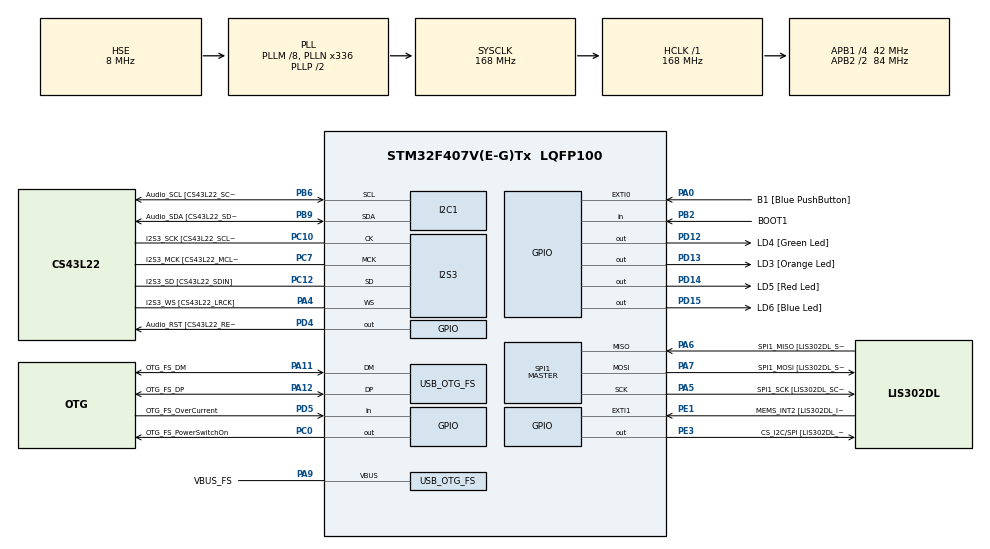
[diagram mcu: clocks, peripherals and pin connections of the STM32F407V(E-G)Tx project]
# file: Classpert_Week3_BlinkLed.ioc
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I2S3.AudioFreq-Half_Duplex_Master=I2S_AUDIOFREQ_96K
I2S3.ErrorAudioFreq=-2.34 %
I2S3.ErrorAudioFreq-Half_Duplex_Master=0.8 %
I2S3.FullDuplexMode=I2S_FULLDUPLEXMODE_DISABLE
I2S3.Instance=SPI$Index
I2S3.RealAudioFreq=93.75 KHz
I2S3.RealAudioFreq-Half_Duplex_Master=96.774 KHz
I2S3.VirtualMode=I2S_MODE_MASTER
Mcu.Family=STM32F4
Mcu.Name=STM32F407V(E-G)Tx
Mcu.Package=LQFP100
NVIC.EXTI0_IRQn=true\:0\:0\:false\:false\:true\:true\:true\:true
NVIC.OTG_FS_IRQn=true\:0\:0\:false\:false\:true\:true\:true\:true
NVIC.PriorityGroup=NVIC_PRIORITYGROUP_0
NVIC.TIM2_IRQn=true\:0\:0\:false\:false\:true\:true\:true\:true
PA0-WKUP.GPIO_Label=B1 [Blue PushButton]
PA0-WKUP.GPIO_ModeDefaultEXTI=GPIO_MODE_IT_RISING
PA0-WKUP.GPIO_PuPd=GPIO_NOPULL
PA0-WKUP.Signal=GPXTI0
PA10.GPIO_Label=OTG_FS_ID
PA10.GPIO_Mode=GPIO_MODE_AF_PP
PA10.GPIO_PuPd=GPIO_NOPULL
PA10.GPIO_Speed=GPIO_SPEED_FREQ_LOW
PA10.Signal=USB_OTG_FS_ID
PA11.GPIO_Label=OTG_FS_DM
PA11.GPIO_Mode=GPIO_MODE_AF_PP
PA11.GPIO_PuPd=GPIO_NOPULL
PA11.GPIO_Speed=GPIO_SPEED_FREQ_LOW
PA11.Mode=Host_Only
PA11.Signal=USB_OTG_FS_DM
PA12.GPIO_Label=OTG_FS_DP
PA12.GPIO_Mode=GPIO_MODE_AF_PP
PA12.GPIO_PuPd=GPIO_NOPULL
PA12.GPIO_Speed=GPIO_SPEED_FREQ_LOW
PA12.Mode=Host_Only
PA12.Signal=USB_OTG_FS_DP
PA13.GPIO_Label=SWDIO
PA13.Mode=Serial_Wire
PA13.Signal=SYS_JTMS-SWDIO
PA14.GPIO_Label=SWCLK
PA14.Mode=Serial_Wire
PA14.Signal=SYS_JTCK-SWCLK
PA4.GPIO_Label=I2S3_WS [CS43L22_LRCK]
PA4.GPIO_Mode=GPIO_MODE_AF_PP
PA4.GPIO_PuPd=GPIO_NOPULL
PA4.GPIO_Speed=GPIO_SPEED_FREQ_LOW
PA4.Mode=Half_Duplex_Master
PA4.Signal=I2S3_WS
PA5.GPIO_Label=SPI1_SCK [LIS302DL_SCL/SPC]
PA5.GPIO_Mode=GPIO_MODE_AF_PP
PA5.GPIO_PuPd=GPIO_NOPULL
PA5.GPIO_Speed=GPIO_SPEED_FREQ_LOW
PA5.Mode=Full_Duplex_Master
PA5.Signal=SPI1_SCK
PA6.GPIO_Label=SPI1_MISO [LIS302DL_SDO]
PA6.GPIO_Mode=GPIO_MODE_AF_PP
PA6.GPIO_PuPd=GPIO_NOPULL
PA6.GPIO_Speed=GPIO_SPEED_FREQ_LOW
PA6.Mode=Full_Duplex_Master
PA6.Signal=SPI1_MISO
PA7.GPIO_Label=SPI1_MOSI [LIS302DL_SDA/SDI/SDO]
PA7.GPIO_Mode=GPIO_MODE_AF_PP
PA7.GPIO_PuPd=GPIO_NOPULL
PA7.GPIO_Speed=GPIO_SPEED_FREQ_LOW
PA7.Mode=Full_Duplex_Master
PA7.Signal=SPI1_MOSI
PA9.GPIO_Label=VBUS_FS
PA9.GPIO_Mode=GPIO_MODE_INPUT
PA9.GPIO_PuPd=GPIO_NOPULL
PA9.Mode=Activate_VBUS
PA9.Signal=USB_OTG_FS_VBUS
PB10.GPIO_Label=CLK_IN [MP45DT02_CLK]
PB10.GPIO_Mode=GPIO_MODE_AF_PP
PB10.GPIO_PuPd=GPIO_NOPULL
PB10.GPIO_Speed=GPIO_SPEED_FREQ_LOW
PB10.Signal=I2S2_CK
PB2.GPIO_Label=BOOT1
PB2.GPIO_Mode=GPIO_MODE_INPUT
PB2.GPIO_PuPd=GPIO_NOPULL
PB2.Signal=GPIO_Input
PB3.GPIO_Label=SWO
PB3.Signal=SYS_JTDO-SWO
PB6.GPIO_Label=Audio_SCL [CS43L22_SCL]
PB6.GPIO_Mode=GPIO_MODE_AF_OD
PB6.GPIO_Pu=GPIO_PULLUP
PB6.GPIO_PuPd=GPIO_NOPULL
PB6.GPIO_Speed=GPIO_SPEED_FREQ_LOW
PB6.Mode=I2C
PB6.Signal=I2C1_SCL
PB9.GPIO_Label=Audio_SDA [CS43L22_SDA]
PB9.GPIO_Mode=GPIO_MODE_AF_OD
PB9.GPIO_Pu=GPIO_PULLUP
PB9.GPIO_PuPd=GPIO_NOPULL
PB9.GPIO_Speed=GPIO_SPEED_FREQ_LOW
PB9.Mode=I2C
PB9.Signal=I2C1_SDA
PC0.GPIO_Label=OTG_FS_PowerSwitchOn
PC0.GPIO_PuPd=GPIO_NOPULL
PC0.GPIO_Speed=GPIO_SPEED_FREQ_LOW
PC0.PinState=GPIO_PIN_SET
PC0.Signal=GPIO_Output
PC10.GPIO_Label=I2S3_SCK [CS43L22_SCLK]
PC10.GPIO_Mode=GPIO_MODE_AF_PP
PC10.GPIO_PuPd=GPIO_NOPULL
PC10.GPIO_Speed=GPIO_SPEED_FREQ_LOW
PC10.Mode=Half_Duplex_Master
PC10.Signal=I2S3_CK
PC12.GPIO_Label=I2S3_SD [CS43L22_SDIN]
PC12.GPIO_Mode=GPIO_MODE_AF_PP
PC12.GPIO_PuPd=GPIO_NOPULL
PC12.GPIO_Speed=GPIO_SPEED_FREQ_LOW
PC12.Mode=Half_Duplex_Master
PC12.Signal=I2S3_SD
PC14-OSC32_IN.GPIO_Label=PC14-OSC32_IN
PC14-OSC32_IN.Mode=LSE-External-Oscillator
PC14-OSC32_IN.Signal=RCC_OSC32_IN
PC15-OSC32_OUT.GPIO_Label=PC15-OSC32_OUT
PC15-OSC32_OUT.Mode=LSE-External-Oscillator
PC15-OSC32_OUT.Signal=RCC_OSC32_OUT
PC3.GPIO_Label=PDM_OUT [MP45DT02_DOUT]
PC3.GPIO_Mode=GPIO_MODE_AF_PP
PC3.GPIO_PuPd=GPIO_NOPULL
PC3.GPIO_Speed=GPIO_SPEED_FREQ_LOW
PC3.Signal=I2S2_SD
PC7.GPIO_Label=I2S3_MCK [CS43L22_MCLK]
PC7.GPIO_Mode=GPIO_MODE_AF_PP
PC7.GPIO_PuPd=GPIO_NOPULL
PC7.GPIO_Speed=GPIO_SPEED_FREQ_LOW
PC7.Mode=Master_Clock_Activated
PC7.Signal=I2S3_MCK
PD12.GPIO_Label=LD4 [Green Led]
PD12.GPIO_PuPd=GPIO_NOPULL
PD12.GPIO_Speed=GPIO_SPEED_FREQ_LOW
PD12.Signal=GPIO_Output
PD13.GPIO_Label=LD3 [Orange Led]
PD13.GPIO_PuPd=GPIO_NOPULL
PD13.GPIO_Speed=GPIO_SPEED_FREQ_LOW
PD13.Signal=GPIO_Output
PD14.GPIO_Label=LD5 [Red Led]
PD14.GPIO_PuPd=GPIO_NOPULL
PD14.GPIO_Speed=GPIO_SPEED_FREQ_LOW
PD14.Signal=GPIO_Output
PD15.GPIO_Label=LD6 [Blue Led]
PD15.GPIO_PuPd=GPIO_NOPULL
PD15.GPIO_Speed=GPIO_SPEED_FREQ_LOW
PD15.Signal=GPIO_Output
PD4.GPIO_Label=Audio_RST [CS43L22_RESET]
PD4.GPIO_PuPd=GPIO_NOPULL
PD4.GPIO_Speed=GPIO_SPEED_FREQ_LOW
PD4.Signal=GPIO_Output
PD5.GPIO_Label=OTG_FS_OverCurrent
PD5.GPIO_Mode=GPIO_MODE_INPUT
PD5.GPIO_PuPd=GPIO_NOPULL
PD5.Signal=GPIO_Input
PE1.GPIO_Label=MEMS_INT2 [LIS302DL_INT2]
PE1.GPIO_ModeDefaultEXTI=GPIO_MODE_EVT_RISING
PE1.GPIO_PuPd=GPIO_NOPULL
PE1.Signal=GPXTI1
PE3.GPIO_Label=CS_I2C/SPI [LIS302DL_CS_I2C/SPI]
PE3.GPIO_PuPd=GPIO_NOPULL
PE3.GPIO_Speed=GPIO_SPEED_FREQ_LOW
PE3.Signal=GPIO_Output
PH0-OSC_IN.GPIO_Label=PH0-OSC_IN
PH0-OSC_IN.Mode=HSE-External-Oscillator
PH0-OSC_IN.Signal=RCC_OSC_IN
PH1-OSC_OUT.GPIO_Label=PH1-OSC_OUT
PH1-OSC_OUT.Mode=HSE-External-Oscillator
PH1-OSC_OUT.Signal=RCC_OSC_OUT
ProjectManager.HeapSize=0x200
ProjectManager.StackSize=0x400
ProjectManager.TargetToolchain=STM32CubeIDE
RCC.48MHZClocksFreq_Value=48000000
RCC.AHBFreq_Value=168000000
RCC.APB1CLKDivider=RCC_HCLK_DIV4
RCC.APB1Freq_Value=42000000
RCC.APB1TimFreq_Value=84000000
RCC.APB2CLKDivider=RCC_HCLK_DIV2
RCC.APB2Freq_Value=84000000
RCC.APB2TimFreq_Value=168000000
RCC.CortexFreq_Value=168000000
RCC.HCLKFreq_Value=168000000
RCC.HSE_VALUE=8000000
RCC.HSI_VALUE=16000000
RCC.PLLM=8
RCC.PLLN=336
RCC.PLLQ=7
RCC.SYSCLKFreq_VALUE=168000000
RCC.SYSCLKSource=RCC_SYSCLKSOURCE_PLLCLK
RCC.VCOOutputFreq_Value=336000000
SPI1.BaudRatePrescaler-Full_Duplex_Master=SPI_BAUDRATEPRESCALER_2
SPI1.CalculateBaudRate-Full_Duplex_Master=42.0 MBits/s
SPI1.Direction=SPI_DIRECTION_2LINES
SPI1.Mode=SPI_MODE_MASTER
SPI1.Mode-Full_Duplex_Master=SPI_MODE_MASTER
SPI1.VirtualType=VM_MASTER
TIM2.Channel-Output\ Compare1\ No\ Output=TIM_CHANNEL_1
TIM2.Period=0
TIM2.Prescaler=84
TIM2.Pulse-Output\ Compare1\ No\ Output=20000
USB_HOST.BSP.number=1
USB_HOST.USBH_HandleTypeDef-CDC_FS=hUsbHostFS
USB_HOST.VirtualModeFS=Cdc
USB_HOST0.BSP.STBoard=false
USB_HOST0.BSP.api=Unknown
USB_HOST0.BSP.instance=PC0
USB_HOST0.BSP.ip=GPIO
USB_HOST0.BSP.mode=Output
USB_HOST0.BSP.name=Drive_VBUS_FS
USB_HOST0.BSP.solution=PC0
USB_OTG_FS.VirtualMode=Host_Only
USB_OTG_FS.phy_itface=HCD_PHY_EMBEDDED
VP_TIM2_VS_ClockSourceINT.Mode=Internal
VP_TIM2_VS_no_output1.Mode=Output Compare1 No Output
VP_USB_HOST_VS_USB_HOST_CDC_FS.Mode=CDC_FS
board=STM32F407G-DISC1

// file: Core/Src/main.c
/* USER CODE BEGIN Header */
/**
  ******************************************************************************
  * @file           : main.c
  * @brief          : Main program body
  ******************************************************************************
  * @attention
  *
  * Copyright (c) 2023 STMicroelectronics.
  * All rights reserved.
  *
  * This software is licensed under terms that can be found in the LICENSE file
  * in the root directory of this software component.
  * If no LICENSE file comes with this software, it is provided AS-IS.
  *
  ******************************************************************************
  */
/* USER CODE END Header */
#include "main.h"
#include "usb_host.h"

/* USER CODE BEGIN Includes */
#include "custom_pindefines.h"
#include "state_defines.h"

/* USER CODE END Includes */

I2C_HandleTypeDef hi2c1;

I2S_HandleTypeDef hi2s3;

SPI_HandleTypeDef hspi1;

TIM_HandleTypeDef htim2;

void SystemClock_Config(void);
static void MX_GPIO_Init(void);
static void MX_I2C1_Init(void);
static void MX_I2S3_Init(void);
static void MX_SPI1_Init(void);
static void MX_TIM2_Init(void);
void MX_USB_HOST_Process(void);

/* USER CODE BEGIN 0 */
ledState LedState = ROTATE;	//Set the default

/* USER CODE END 0 */

int main(void)
{
  /* USER CODE BEGIN 1 */
	unsigned char previousLedState = ROTATE;
	unsigned char i;
	//ledState LedState = ROTATE;	//Set the default

  /* USER CODE END 1 */

  /* MCU Configuration--------------------------------------------------------*/

  /* Reset of all peripherals, Initializes the Flash interface and the Systick. */
  HAL_Init();

  /* Configure the system clock */
  SystemClock_Config();

  /* Initialize all configured peripherals */
  MX_GPIO_Init();
  MX_I2C1_Init();
  MX_I2S3_Init();
  MX_SPI1_Init();
  MX_USB_HOST_Init();
  MX_TIM2_Init();

  /* Infinite loop */
  /* USER CODE BEGIN WHILE */
  while (1)
  {
	  if( LedState != previousLedState)
	  {
		  //Turn all LEDS off before beginning a new pattern
		  HAL_GPIO_WritePin(GPIOD, LED_ORANGE, GPIO_PIN_RESET);
		  HAL_GPIO_WritePin(GPIOD, LED_RED, GPIO_PIN_RESET);
		  HAL_GPIO_WritePin(GPIOD, LED_BLUE, GPIO_PIN_RESET);
		  HAL_GPIO_WritePin(GPIOD, LED_GREEN, GPIO_PIN_RESET);

		  previousLedState = LedState;
	  }

	  switch (LedState)
	  {
	  case ROTATE:
		  /*Rotate LEDs with 100ms time between*/
		  HAL_GPIO_TogglePin(GPIOD, LED_ORANGE);
		  HAL_Delay(100);
		  HAL_GPIO_TogglePin(GPIOD, LED_RED);
		  HAL_Delay(100);
		  HAL_GPIO_TogglePin(GPIOD, LED_BLUE);
		  HAL_Delay(100);
		  HAL_GPIO_TogglePin(GPIOD, LED_GREEN);
		  HAL_Delay(100);
		  break;
	  case POLICE:
		  for (i = 0; i<4; i++)
		  {
			  HAL_GPIO_TogglePin(GPIOD, LED_BLUE);
			  HAL_Delay(100);
		  }
		  for (i = 0; i<4; i++)
		  {
			  HAL_GPIO_TogglePin(GPIOD, LED_RED);
			  HAL_Delay(100);
		  }
		  break;
	  case STROBE:
		  HAL_GPIO_TogglePin(GPIOD, LED_ORANGE);
		  HAL_GPIO_TogglePin(GPIOD, LED_RED);
		  HAL_GPIO_TogglePin(GPIOD, LED_BLUE);
		  HAL_GPIO_TogglePin(GPIOD, LED_GREEN);
		  HAL_Delay(50);
		  break;
	  case MAXFUNCTIONS:
		  LedState = ROTATE;
		  break;
	  }

	  //Read button state

    /* USER CODE END WHILE */
    MX_USB_HOST_Process();

  }
}

void SystemClock_Config(void)
{
  RCC_OscInitTypeDef RCC_OscInitStruct = {0};
  RCC_ClkInitTypeDef RCC_ClkInitStruct = {0};

  /** Configure the main internal regulator output voltage
  */
  __HAL_RCC_PWR_CLK_ENABLE();
  __HAL_PWR_VOLTAGESCALING_CONFIG(PWR_REGULATOR_VOLTAGE_SCALE1);

  /** Initializes the RCC Oscillators according to the specified parameters
  * in the RCC_OscInitTypeDef structure.
  */
  RCC_OscInitStruct.OscillatorType = RCC_OSCILLATORTYPE_HSE;
  RCC_OscInitStruct.HSEState = RCC_HSE_ON;
  RCC_OscInitStruct.PLL.PLLState = RCC_PLL_ON;
  RCC_OscInitStruct.PLL.PLLSource = RCC_PLLSOURCE_HSE;
  RCC_OscInitStruct.PLL.PLLM = 8;
  RCC_OscInitStruct.PLL.PLLN = 336;
  RCC_OscInitStruct.PLL.PLLP = RCC_PLLP_DIV2;
  RCC_OscInitStruct.PLL.PLLQ = 7;
  if (HAL_RCC_OscConfig(&RCC_OscInitStruct) != HAL_OK)
  {
    Error_Handler();
  }

  /** Initializes the CPU, AHB and APB buses clocks
  */
  RCC_ClkInitStruct.ClockType = RCC_CLOCKTYPE_HCLK|RCC_CLOCKTYPE_SYSCLK
                              |RCC_CLOCKTYPE_PCLK1|RCC_CLOCKTYPE_PCLK2;
  RCC_ClkInitStruct.SYSCLKSource = RCC_SYSCLKSOURCE_PLLCLK;
  RCC_ClkInitStruct.AHBCLKDivider = RCC_SYSCLK_DIV1;
  RCC_ClkInitStruct.APB1CLKDivider = RCC_HCLK_DIV4;
  RCC_ClkInitStruct.APB2CLKDivider = RCC_HCLK_DIV2;

  if (HAL_RCC_ClockConfig(&RCC_ClkInitStruct, FLASH_LATENCY_5) != HAL_OK)
  {
    Error_Handler();
  }
}

static void MX_I2C1_Init(void)
{

  hi2c1.Instance = I2C1;
  hi2c1.Init.ClockSpeed = 100000;
  hi2c1.Init.DutyCycle = I2C_DUTYCYCLE_2;
  hi2c1.Init.OwnAddress1 = 0;
  hi2c1.Init.AddressingMode = I2C_ADDRESSINGMODE_7BIT;
  hi2c1.Init.DualAddressMode = I2C_DUALADDRESS_DISABLE;
  hi2c1.Init.OwnAddress2 = 0;
  hi2c1.Init.GeneralCallMode = I2C_GENERALCALL_DISABLE;
  hi2c1.Init.NoStretchMode = I2C_NOSTRETCH_DISABLE;
  if (HAL_I2C_Init(&hi2c1) != HAL_OK)
  {
    Error_Handler();
  }

}

static void MX_I2S3_Init(void)
{

  hi2s3.Instance = SPI3;
  hi2s3.Init.Mode = I2S_MODE_MASTER_TX;
  hi2s3.Init.Standard = I2S_STANDARD_PHILIPS;
  hi2s3.Init.DataFormat = I2S_DATAFORMAT_16B;
  hi2s3.Init.MCLKOutput = I2S_MCLKOUTPUT_ENABLE;
  hi2s3.Init.AudioFreq = I2S_AUDIOFREQ_96K;
  hi2s3.Init.CPOL = I2S_CPOL_LOW;
  hi2s3.Init.ClockSource = I2S_CLOCK_PLL;
  hi2s3.Init.FullDuplexMode = I2S_FULLDUPLEXMODE_DISABLE;
  if (HAL_I2S_Init(&hi2s3) != HAL_OK)
  {
    Error_Handler();
  }

}

static void MX_SPI1_Init(void)
{

  /* SPI1 parameter configuration*/
  hspi1.Instance = SPI1;
  hspi1.Init.Mode = SPI_MODE_MASTER;
  hspi1.Init.Direction = SPI_DIRECTION_2LINES;
  hspi1.Init.DataSize = SPI_DATASIZE_8BIT;
  hspi1.Init.CLKPolarity = SPI_POLARITY_LOW;
  hspi1.Init.CLKPhase = SPI_PHASE_1EDGE;
  hspi1.Init.NSS = SPI_NSS_SOFT;
  hspi1.Init.BaudRatePrescaler = SPI_BAUDRATEPRESCALER_2;
  hspi1.Init.FirstBit = SPI_FIRSTBIT_MSB;
  hspi1.Init.TIMode = SPI_TIMODE_DISABLE;
  hspi1.Init.CRCCalculation = SPI_CRCCALCULATION_DISABLE;
  hspi1.Init.CRCPolynomial = 10;
  if (HAL_SPI_Init(&hspi1) != HAL_OK)
  {
    Error_Handler();
  }

}

static void MX_TIM2_Init(void)
{

  TIM_ClockConfigTypeDef sClockSourceConfig = {0};
  TIM_MasterConfigTypeDef sMasterConfig = {0};
  TIM_OC_InitTypeDef sConfigOC = {0};

  htim2.Instance = TIM2;
  htim2.Init.Prescaler = 84;
  htim2.Init.CounterMode = TIM_COUNTERMODE_UP;
  htim2.Init.Period = 0;
  htim2.Init.ClockDivision = TIM_CLOCKDIVISION_DIV1;
  htim2.Init.AutoReloadPreload = TIM_AUTORELOAD_PRELOAD_DISABLE;
  if (HAL_TIM_Base_Init(&htim2) != HAL_OK)
  {
    Error_Handler();
  }
  sClockSourceConfig.ClockSource = TIM_CLOCKSOURCE_INTERNAL;
  if (HAL_TIM_ConfigClockSource(&htim2, &sClockSourceConfig) != HAL_OK)
  {
    Error_Handler();
  }
  if (HAL_TIM_OC_Init(&htim2) != HAL_OK)
  {
    Error_Handler();
  }
  sMasterConfig.MasterOutputTrigger = TIM_TRGO_RESET;
  sMasterConfig.MasterSlaveMode = TIM_MASTERSLAVEMODE_DISABLE;
  if (HAL_TIMEx_MasterConfigSynchronization(&htim2, &sMasterConfig) != HAL_OK)
  {
    Error_Handler();
  }
  sConfigOC.OCMode = TIM_OCMODE_TIMING;
  sConfigOC.Pulse = 20000;
  sConfigOC.OCPolarity = TIM_OCPOLARITY_HIGH;
  sConfigOC.OCFastMode = TIM_OCFAST_DISABLE;
  if (HAL_TIM_OC_ConfigChannel(&htim2, &sConfigOC, TIM_CHANNEL_1) != HAL_OK)
  {
    Error_Handler();
  }

}

static void MX_GPIO_Init(void)
{
  GPIO_InitTypeDef GPIO_InitStruct = {0};

  /* GPIO Ports Clock Enable */
  __HAL_RCC_GPIOE_CLK_ENABLE();
  __HAL_RCC_GPIOC_CLK_ENABLE();
  __HAL_RCC_GPIOH_CLK_ENABLE();
  __HAL_RCC_GPIOA_CLK_ENABLE();
  __HAL_RCC_GPIOB_CLK_ENABLE();
  __HAL_RCC_GPIOD_CLK_ENABLE();

  /*Configure GPIO pin Output Level */
  HAL_GPIO_WritePin(CS_I2C_SPI_GPIO_Port, CS_I2C_SPI_Pin, GPIO_PIN_RESET);

  /*Configure GPIO pin Output Level */
  HAL_GPIO_WritePin(OTG_FS_PowerSwitchOn_GPIO_Port, OTG_FS_PowerSwitchOn_Pin, GPIO_PIN_SET);

  /*Configure GPIO pin Output Level */
  HAL_GPIO_WritePin(GPIOD, LD4_Pin|LD3_Pin|LD5_Pin|LD6_Pin
                          |Audio_RST_Pin, GPIO_PIN_RESET);

  /*Configure GPIO pin : CS_I2C_SPI_Pin */
  GPIO_InitStruct.Pin = CS_I2C_SPI_Pin;
  GPIO_InitStruct.Mode = GPIO_MODE_OUTPUT_PP;
  GPIO_InitStruct.Pull = GPIO_NOPULL;
  GPIO_InitStruct.Speed = GPIO_SPEED_FREQ_LOW;
  HAL_GPIO_Init(CS_I2C_SPI_GPIO_Port, &GPIO_InitStruct);

  /*Configure GPIO pin : OTG_FS_PowerSwitchOn_Pin */
  GPIO_InitStruct.Pin = OTG_FS_PowerSwitchOn_Pin;
  GPIO_InitStruct.Mode = GPIO_MODE_OUTPUT_PP;
  GPIO_InitStruct.Pull = GPIO_NOPULL;
  GPIO_InitStruct.Speed = GPIO_SPEED_FREQ_LOW;
  HAL_GPIO_Init(OTG_FS_PowerSwitchOn_GPIO_Port, &GPIO_InitStruct);

  /*Configure GPIO pin : PDM_OUT_Pin */
  GPIO_InitStruct.Pin = PDM_OUT_Pin;
  GPIO_InitStruct.Mode = GPIO_MODE_AF_PP;
  GPIO_InitStruct.Pull = GPIO_NOPULL;
  GPIO_InitStruct.Speed = GPIO_SPEED_FREQ_LOW;
  GPIO_InitStruct.Alternate = GPIO_AF5_SPI2;
  HAL_GPIO_Init(PDM_OUT_GPIO_Port, &GPIO_InitStruct);

  /*Configure GPIO pin : B1_Pin */
  GPIO_InitStruct.Pin = B1_Pin;
  GPIO_InitStruct.Mode = GPIO_MODE_IT_RISING;
  GPIO_InitStruct.Pull = GPIO_NOPULL;
  HAL_GPIO_Init(B1_GPIO_Port, &GPIO_InitStruct);

  /*Configure GPIO pin : BOOT1_Pin */
  GPIO_InitStruct.Pin = BOOT1_Pin;
  GPIO_InitStruct.Mode = GPIO_MODE_INPUT;
  GPIO_InitStruct.Pull = GPIO_NOPULL;
  HAL_GPIO_Init(BOOT1_GPIO_Port, &GPIO_InitStruct);

  /*Configure GPIO pin : CLK_IN_Pin */
  GPIO_InitStruct.Pin = CLK_IN_Pin;
  GPIO_InitStruct.Mode = GPIO_MODE_AF_PP;
  GPIO_InitStruct.Pull = GPIO_NOPULL;
  GPIO_InitStruct.Speed = GPIO_SPEED_FREQ_LOW;
  GPIO_InitStruct.Alternate = GPIO_AF5_SPI2;
  HAL_GPIO_Init(CLK_IN_GPIO_Port, &GPIO_InitStruct);

  /*Configure GPIO pins : LD4_Pin LD3_Pin LD5_Pin LD6_Pin
                           Audio_RST_Pin */
  GPIO_InitStruct.Pin = LD4_Pin|LD3_Pin|LD5_Pin|LD6_Pin
                          |Audio_RST_Pin;
  GPIO_InitStruct.Mode = GPIO_MODE_OUTPUT_PP;
  GPIO_InitStruct.Pull = GPIO_NOPULL;
  GPIO_InitStruct.Speed = GPIO_SPEED_FREQ_LOW;
  HAL_GPIO_Init(GPIOD, &GPIO_InitStruct);

  /*Configure GPIO pin : OTG_FS_OverCurrent_Pin */
  GPIO_InitStruct.Pin = OTG_FS_OverCurrent_Pin;
  GPIO_InitStruct.Mode = GPIO_MODE_INPUT;
  GPIO_InitStruct.Pull = GPIO_NOPULL;
  HAL_GPIO_Init(OTG_FS_OverCurrent_GPIO_Port, &GPIO_InitStruct);

  /*Configure GPIO pin : MEMS_INT2_Pin */
  GPIO_InitStruct.Pin = MEMS_INT2_Pin;
  GPIO_InitStruct.Mode = GPIO_MODE_EVT_RISING;
  GPIO_InitStruct.Pull = GPIO_NOPULL;
  HAL_GPIO_Init(MEMS_INT2_GPIO_Port, &GPIO_InitStruct);

  /* EXTI interrupt init*/
  HAL_NVIC_SetPriority(EXTI0_IRQn, 0, 0);
  HAL_NVIC_EnableIRQ(EXTI0_IRQn);

}

/* USER CODE BEGIN 4 */
void HAL_GPIO_EXTI_Callback(uint16_t GPIO_Pin)
{
  if(GPIO_Pin == BUTTON1)
  {
    LedState++;
    if (LedState >= MAXFUNCTIONS)
    {
    	LedState = ROTATE;
    }
  }
  else
  {
      __NOP();
  }
}

void HAL_TIM_PeriodElapsedCallback(TIM_HandleTypeDef *htim)
{
	if(htim-> Instance == &htim2)	//Button debounce timer
	{

	}
}

/* USER CODE END 4 */

void Error_Handler(void)
{
  __disable_irq();
  while (1)
  {
  }
}
